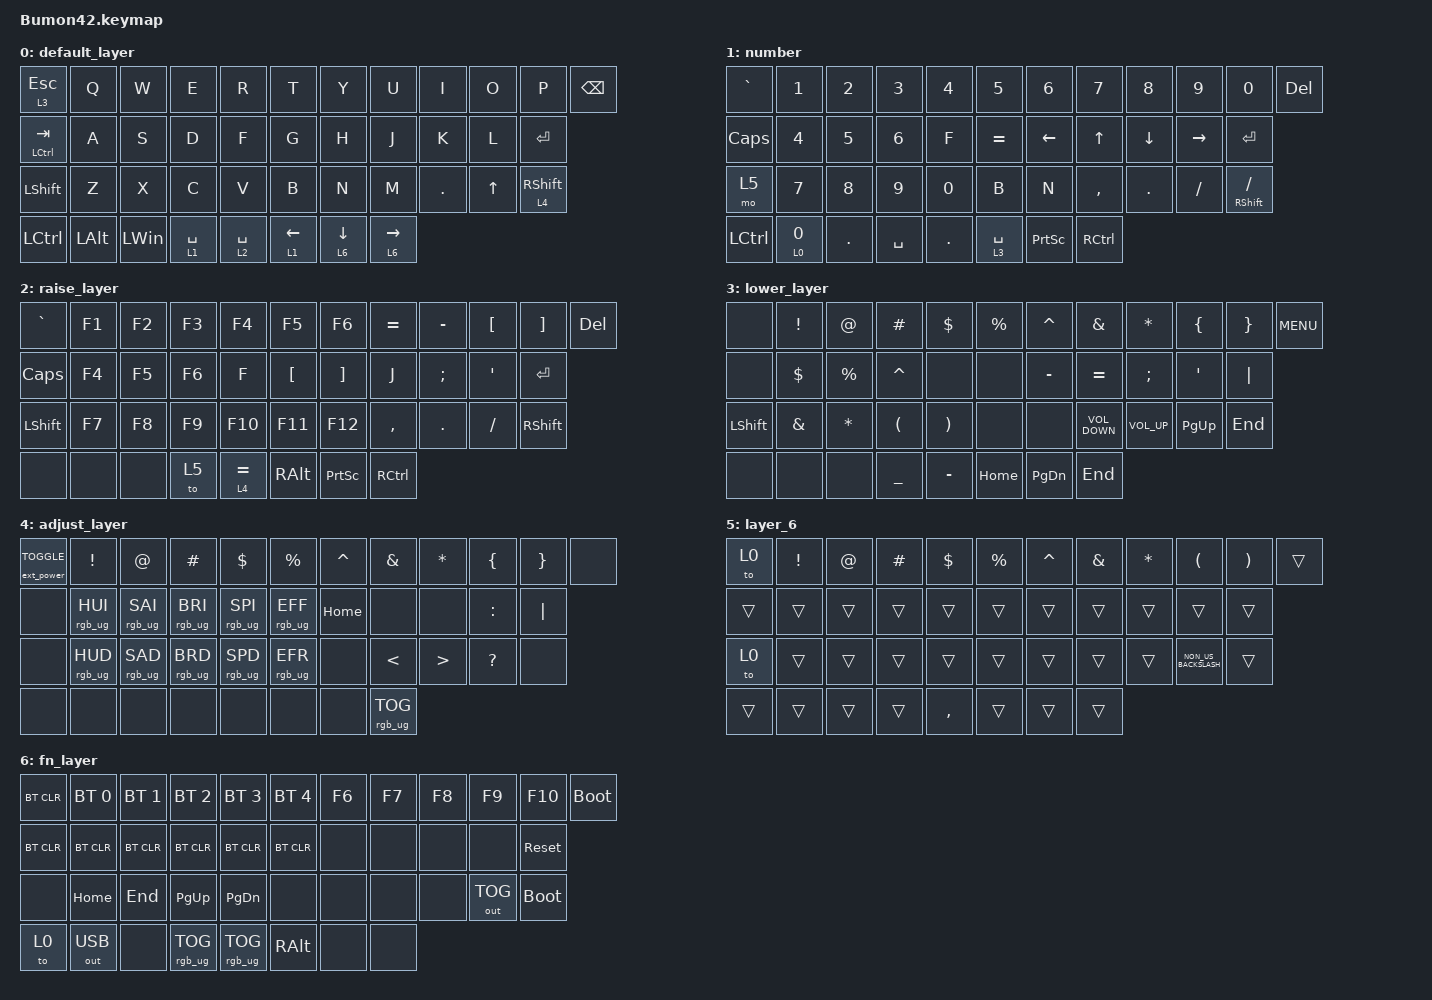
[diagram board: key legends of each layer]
//2025年10月26日

#include <behaviors.dtsi>
#include <dt-bindings/zmk/bt.h>
#include <dt-bindings/zmk/ext_power.h>
#include <dt-bindings/zmk/keys.h>
#include <dt-bindings/zmk/outputs.h>
#include <dt-bindings/zmk/rgb.h>

// changed lwr and rse

#define DEF 0
#define GAM 1
#define RSE 2
#define LWR 3
#define ADJ 4
#define FN  5

// 澈言的Bumon42

/ {
    keymap {
        compatible = "zmk,keymap";

        // DEF 0

        default_layer {
            bindings = <
&lt 3 ESC      &kp Q         &kp W         &kp E        &kp R        &kp T             &kp Y             &kp U              &kp I    &kp O         &kp P         &kp BSPC
&mt LCTRL TAB  &kp A         &kp S         &kp D        &kp F        &kp G             &kp H             &kp J              &kp K    &kp L         &kp ENTER
&kp LSHFT      &kp Z         &kp X         &kp C        &kp V        &kp B             &kp N             &kp M              &kp DOT  &kp UP_ARROW  &lt 4 RSHIFT
&kp LCTRL      &kp LEFT_ALT  &kp LEFT_WIN  &lt 1 SPACE  &lt 2 SPACE  &lt 1 LEFT_ARROW  &lt 6 DOWN_ARROW  &lt 6 RIGHT_ARROW
            >;
        };

        number {
            bindings = <
&kp GRAVE  &kp NUMBER_1    &kp NUMBER_2  &kp NUMBER_3  &kp NUMBER_4  &kp NUMBER_5  &kp N6           &kp N7        &kp N8          &kp N9           &kp N0            &kp DEL
&kp CAPS   &kp NUMBER_4    &kp NUMBER_5  &kp NUMBER_6  &kp F         &kp EQUAL     &kp LEFT_ARROW   &kp UP_ARROW  &kp DOWN_ARROW  &kp RIGHT_ARROW  &kp ENTER
&mo 5      &kp NUMBER_7    &kp NUMBER_8  &kp NUMBER_9  &kp NUMBER_0  &kp B         &kp N            &kp COMMA     &kp PERIOD      &kp SLASH        &mt RSHIFT SLASH
&kp LCTRL  &lt 0 NUMBER_0  &kp DOT       &kp SPACE     &kp PERIOD    &lt 3 SPACE   &kp PRINTSCREEN  &kp RCTRL
            >;
        };

        raise_layer {
            bindings = <
&kp GRAVE  &kp F1  &kp F2  &kp F3  &kp F4       &kp F5            &kp F6             &kp EQUAL  &kp MINUS      &kp LEFT_BRACKET  &kp RIGHT_BRACKET  &kp DEL
&kp CAPS   &kp F4  &kp F5  &kp F6  &kp F        &kp LEFT_BRACKET  &kp RIGHT_BRACKET  &kp J      &kp SEMICOLON  &kp SQT           &kp ENTER
&kp LSHFT  &kp F7  &kp F8  &kp F9  &kp F10      &kp F11           &kp F12            &kp COMMA  &kp PERIOD     &kp SLASH         &kp RSHFT
&none      &none   &none   &to 5   &lt 4 EQUAL  &kp RIGHT_ALT     &kp PRINTSCREEN    &kp RCTRL
            >;
        };

        lower_layer {
            bindings = <
&none      &kp EXCLAMATION  &kp AT_SIGN   &kp HASH              &kp DOLLAR             &kp PERCENT  &kp CARET      &kp AMPERSAND      &kp ASTERISK     &kp LEFT_BRACE  &kp RIGHT_BRACE  &kp C_MENU
&none      &kp DOLLAR       &kp PERCENT   &kp CARET             &none                  &none        &kp MINUS      &kp EQUAL          &kp SEMI         &kp SQT         &kp PIPE
&kp LSHFT  &kp AMPERSAND    &kp ASTERISK  &kp LEFT_PARENTHESIS  &kp RIGHT_PARENTHESIS  &none        &none          &kp C_VOLUME_DOWN  &kp C_VOLUME_UP  &kp PAGE_UP     &kp END
&none      &none            &none         &kp UNDERSCORE        &kp MINUS              &kp HOME     &kp PAGE_DOWN  &kp END
            >;
        };

        adjust_layer {
            bindings = <
&ext_power EXT_POWER_TOGGLE_CMD  &kp EXCLAMATION  &kp AT_SIGN      &kp HASH         &kp DOLLAR       &kp PERCENT      &kp CARET  &kp AMPERSAND    &kp ASTERISK      &kp LEFT_BRACE  &kp RIGHT_BRACE  &none
&none                            &rgb_ug RGB_HUI  &rgb_ug RGB_SAI  &rgb_ug RGB_BRI  &rgb_ug RGB_SPI  &rgb_ug RGB_EFF  &kp HOME   &none            &none             &kp COLON       &kp PIPE
&none                            &rgb_ug RGB_HUD  &rgb_ug RGB_SAD  &rgb_ug RGB_BRD  &rgb_ug RGB_SPD  &rgb_ug RGB_EFR  &none      &kp LESS_THAN    &kp GREATER_THAN  &kp QUESTION    &none
&none                            &none            &none            &none            &none            &none            &none      &rgb_ug RGB_TOG
            >;
        };

        layer_6 {
            bindings = <
&to 0   &kp EXCLAMATION  &kp AT_SIGN  &kp HASH  &kp DOLLAR  &kp PERCENT  &kp CARET  &kp AMPERSAND  &kp ASTERISK  &kp LEFT_PARENTHESIS  &kp RIGHT_PARENTHESIS  &trans
&trans  &trans           &trans       &trans    &trans      &trans       &trans     &trans         &trans        &trans                &trans
&to 0   &trans           &trans       &trans    &trans      &trans       &trans     &trans         &trans        &kp NON_US_BACKSLASH  &trans
&trans  &trans           &trans       &trans    &kp COMMA   &trans       &trans     &trans
            >;
        };

        fn_layer {
            bindings = <
&bt BT_CLR  &bt BT_SEL 0  &bt BT_SEL 1  &bt BT_SEL 2     &bt BT_SEL 3     &bt BT_SEL 4  &kp F6  &kp F7  &kp F8  &kp F9        &kp F10      &bootloader
&bt BT_CLR  &bt BT_CLR    &bt BT_CLR    &bt BT_CLR       &bt BT_CLR       &bt BT_CLR    &none   &none   &none   &none         &sys_reset
&none       &kp HOME      &kp END       &kp PAGE_UP      &kp PAGE_DOWN    &none         &none   &none   &none   &out OUT_TOG  &bootloader
&to 0       &out OUT_USB  &none         &rgb_ug RGB_TOG  &rgb_ug RGB_TOG  &kp RALT      &none   &none
            >;
        };
    };
};
